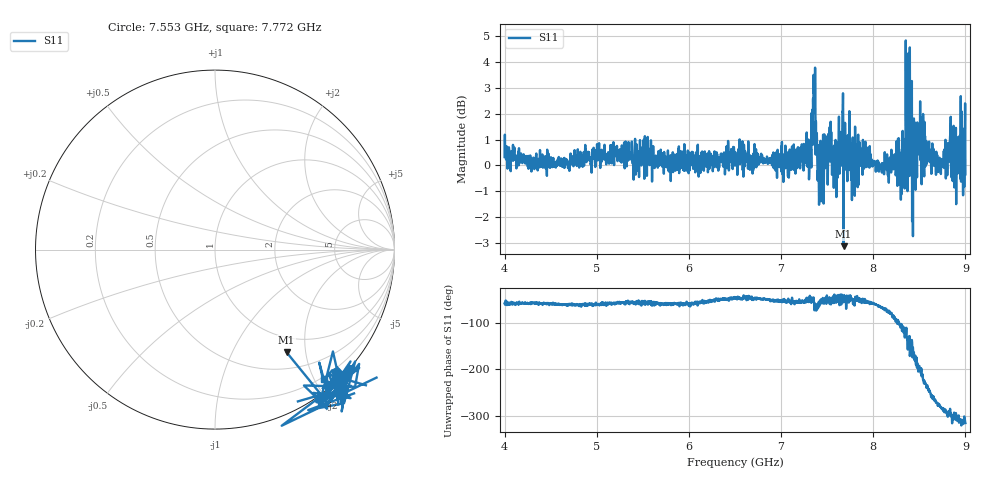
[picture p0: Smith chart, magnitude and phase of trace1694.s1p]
! Created with skrf 1.8.0 (http://scikit-rf.org).
# Hz S RI R 50.0
!freq ReS11 ImS11
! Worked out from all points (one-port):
!   1601 points, 4 GHz to 9 GHz, reference 50 ohm
!   lowest |S11| = -3.1 dB at 7.678 GHz (marker M1), VSWR 5.61, Z = 37.3 - j83.1 ohm
!   |S11| at or under -10 dB: nowhere
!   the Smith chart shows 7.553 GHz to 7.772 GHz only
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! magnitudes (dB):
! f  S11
! 4 GHz  0.3
! 4.625 GHz  -0.1
! 5.25 GHz  0.2
! 5.875 GHz  -0.2
! 6.5 GHz  0.0
! 7.125 GHz  0.4
! 7.303 GHz  -0.5
! 7.356 GHz  2.8
! 7.372 GHz  2.7
! 7.4 GHz  -0.2
! 7.425 GHz  0.1
! 7.519 GHz  1.2
! 7.597 GHz  0.4
! 7.65 GHz  0.9
! 7.678 GHz  -3.1
! 7.75 GHz  0.0
! 7.891 GHz  0.4
! 8.316 GHz  0.0
! 8.338 GHz  -0.5
! 8.356 GHz  1.9
! 8.375 GHz  1.4
! 8.447 GHz  1.6
! 8.459 GHz  -0.9
! 8.522 GHz  1.9
! 8.722 GHz  0.0
! 8.875 GHz  0.4
! 8.972 GHz  0.2
! 9 GHz  -0.3
